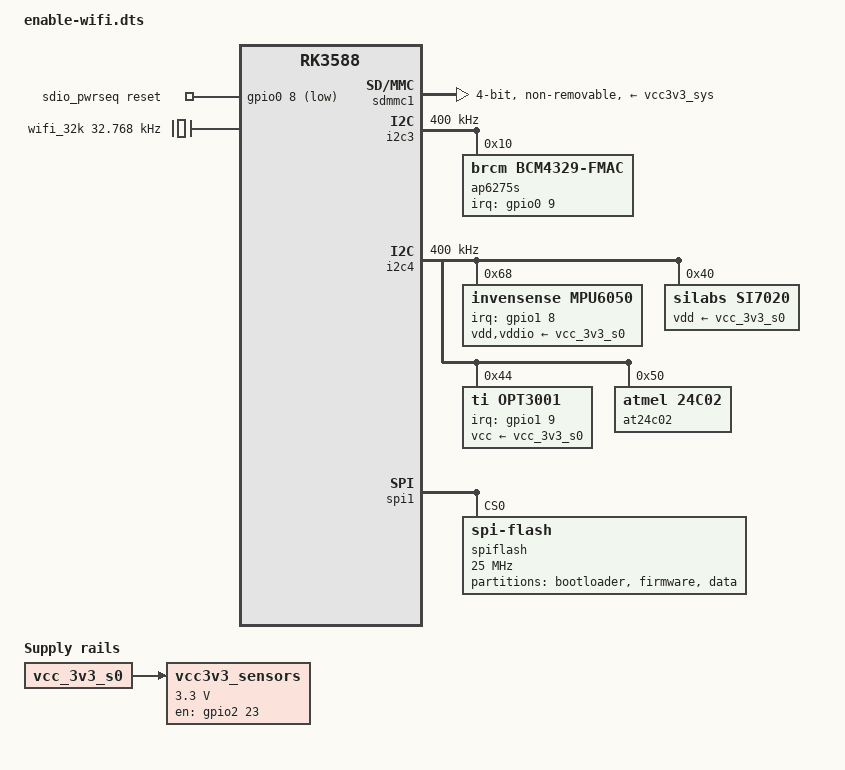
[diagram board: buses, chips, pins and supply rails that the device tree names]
// SPDX-License-Identifier: (GPL-2.0+ OR MIT)
/dts-v1/;

#include "../include/rk3588-soc.dtsi"

// WiFi/Bluetooth Overlay - Enable SDIO WiFi and additional I2C sensors

// Enable SDIO for WiFi module  
&sdmmc1 {
    status = "okay";
    bus-width = <4>;
    cap-sd-highspeed;
    cap-sdio-irq;
    disable-wp;
    keep-power-in-suspend;
    mmc-pwrseq = <&sdio_pwrseq>;
    non-removable;
    pinctrl-names = "default";
    pinctrl-0 = <&sdmmc1_bus4 &sdmmc1_cmd &sdmmc1_clk>;
    sd-uhs-sdr50;
    vmmc-supply = <&vcc3v3_sys>;
    vqmmc-supply = <&vcc_1v8_s0>;
};

// Enable I2C3 for WiFi/BT module control
&i2c3 {
    status = "okay";
    clock-frequency = <400000>;
    
    // WiFi/BT power management IC
    ap6275s: wifi@10 {
        compatible = "brcm,bcm4329-fmac";
        reg = <0x10>;
        interrupt-parent = <&gpio0>;
        interrupts = <9 4>; // GPIO0_B1
        interrupt-names = "host-wake";
        brcm,drive-strength = <5>;
        pinctrl-names = "default";
        pinctrl-0 = <&wifi_host_wake_irq>;
    };
};

// Enable I2C4 for additional sensors
&i2c4 {
    status = "okay";
    clock-frequency = <400000>;

    // IMU Sensor
    mpu6050: imu@68 {
        compatible = "invensense,mpu6050";
        reg = <0x68>;
        interrupt-parent = <&gpio1>;
        interrupts = <8 2>; // GPIO1_B0, falling edge
        mount-matrix = "1", "0", "0",
                       "0", "-1", "0", 
                       "0", "0", "-1";
        vdd-supply = <&vcc_3v3_s0>;
        vddio-supply = <&vcc_3v3_s0>;
    };

    // Temperature/Humidity Sensor
    si7020: temp-humidity@40 {
        compatible = "silabs,si7020";
        reg = <0x40>;
        vdd-supply = <&vcc_3v3_s0>;
    };

    // Light Sensor
    opt3001: light@44 {
        compatible = "ti,opt3001";
        reg = <0x44>;
        interrupt-parent = <&gpio1>;
        interrupts = <9 1>; // GPIO1_B1, rising edge  
        vcc-supply = <&vcc_3v3_s0>;
    };

    // EEPROM for calibration data
    at24c02: eeprom@50 {
        compatible = "atmel,24c02";
        reg = <0x50>;
        pagesize = <8>;
        size = <256>;
        address-width = <8>;
    };
};

// Enable SPI1 for external flash
&spi1 {
    status = "okay";
    pinctrl-names = "default";
    pinctrl-0 = <&spi1m1_pins>;
    
    spiflash: flash@0 {
        compatible = "jedec,spi-flash";
        reg = <0>;
        spi-max-frequency = <25000000>;
        spi-rx-bus-width = <1>;
        spi-tx-bus-width = <1>;
        
        partitions {
            compatible = "fixed-partitions";
            #address-cells = <1>;
            #size-cells = <1>;
            
            partition@0 {
                label = "bootloader";
                reg = <0x0 0x100000>;
                read-only;
            };
            
            partition@100000 {
                label = "firmware";
                reg = <0x100000 0x300000>;
            };
            
            partition@400000 {
                label = "data";
                reg = <0x400000 0x400000>;
            };
        };
    };
};

// Add root-level configurations
/ {
    // WiFi power sequence
    sdio_pwrseq: sdio-pwrseq {
        compatible = "mmc-pwrseq-simple";
        clocks = <&wifi_32k>;
        clock-names = "ext_clock";
        pinctrl-names = "default";
        pinctrl-0 = <&wifi_enable_h>;
        post-power-on-delay-ms = <200>;
        power-off-delay-us = <5000000>;
        reset-gpios = <&gpio0 8 1>; // GPIO0_B0, active low
    };

    // 32.768kHz clock for WiFi
    wifi_32k: wifi-32k-clock {
        compatible = "fixed-clock";
        #clock-cells = <0>;
        clock-frequency = <32768>;
        clock-output-names = "wifi_32k";
    };

    // Additional regulators for sensors
    vcc3v3_sensors: vcc3v3-sensors-regulator {
        compatible = "regulator-fixed";
        regulator-name = "vcc3v3_sensors";
        regulator-min-microvolt = <3300000>;
        regulator-max-microvolt = <3300000>;
        gpio = <&gpio2 23 0>;
        enable-active-high;
        regulator-always-on;
        regulator-boot-on;
        vin-supply = <&vcc_3v3_s0>;
    };
};
